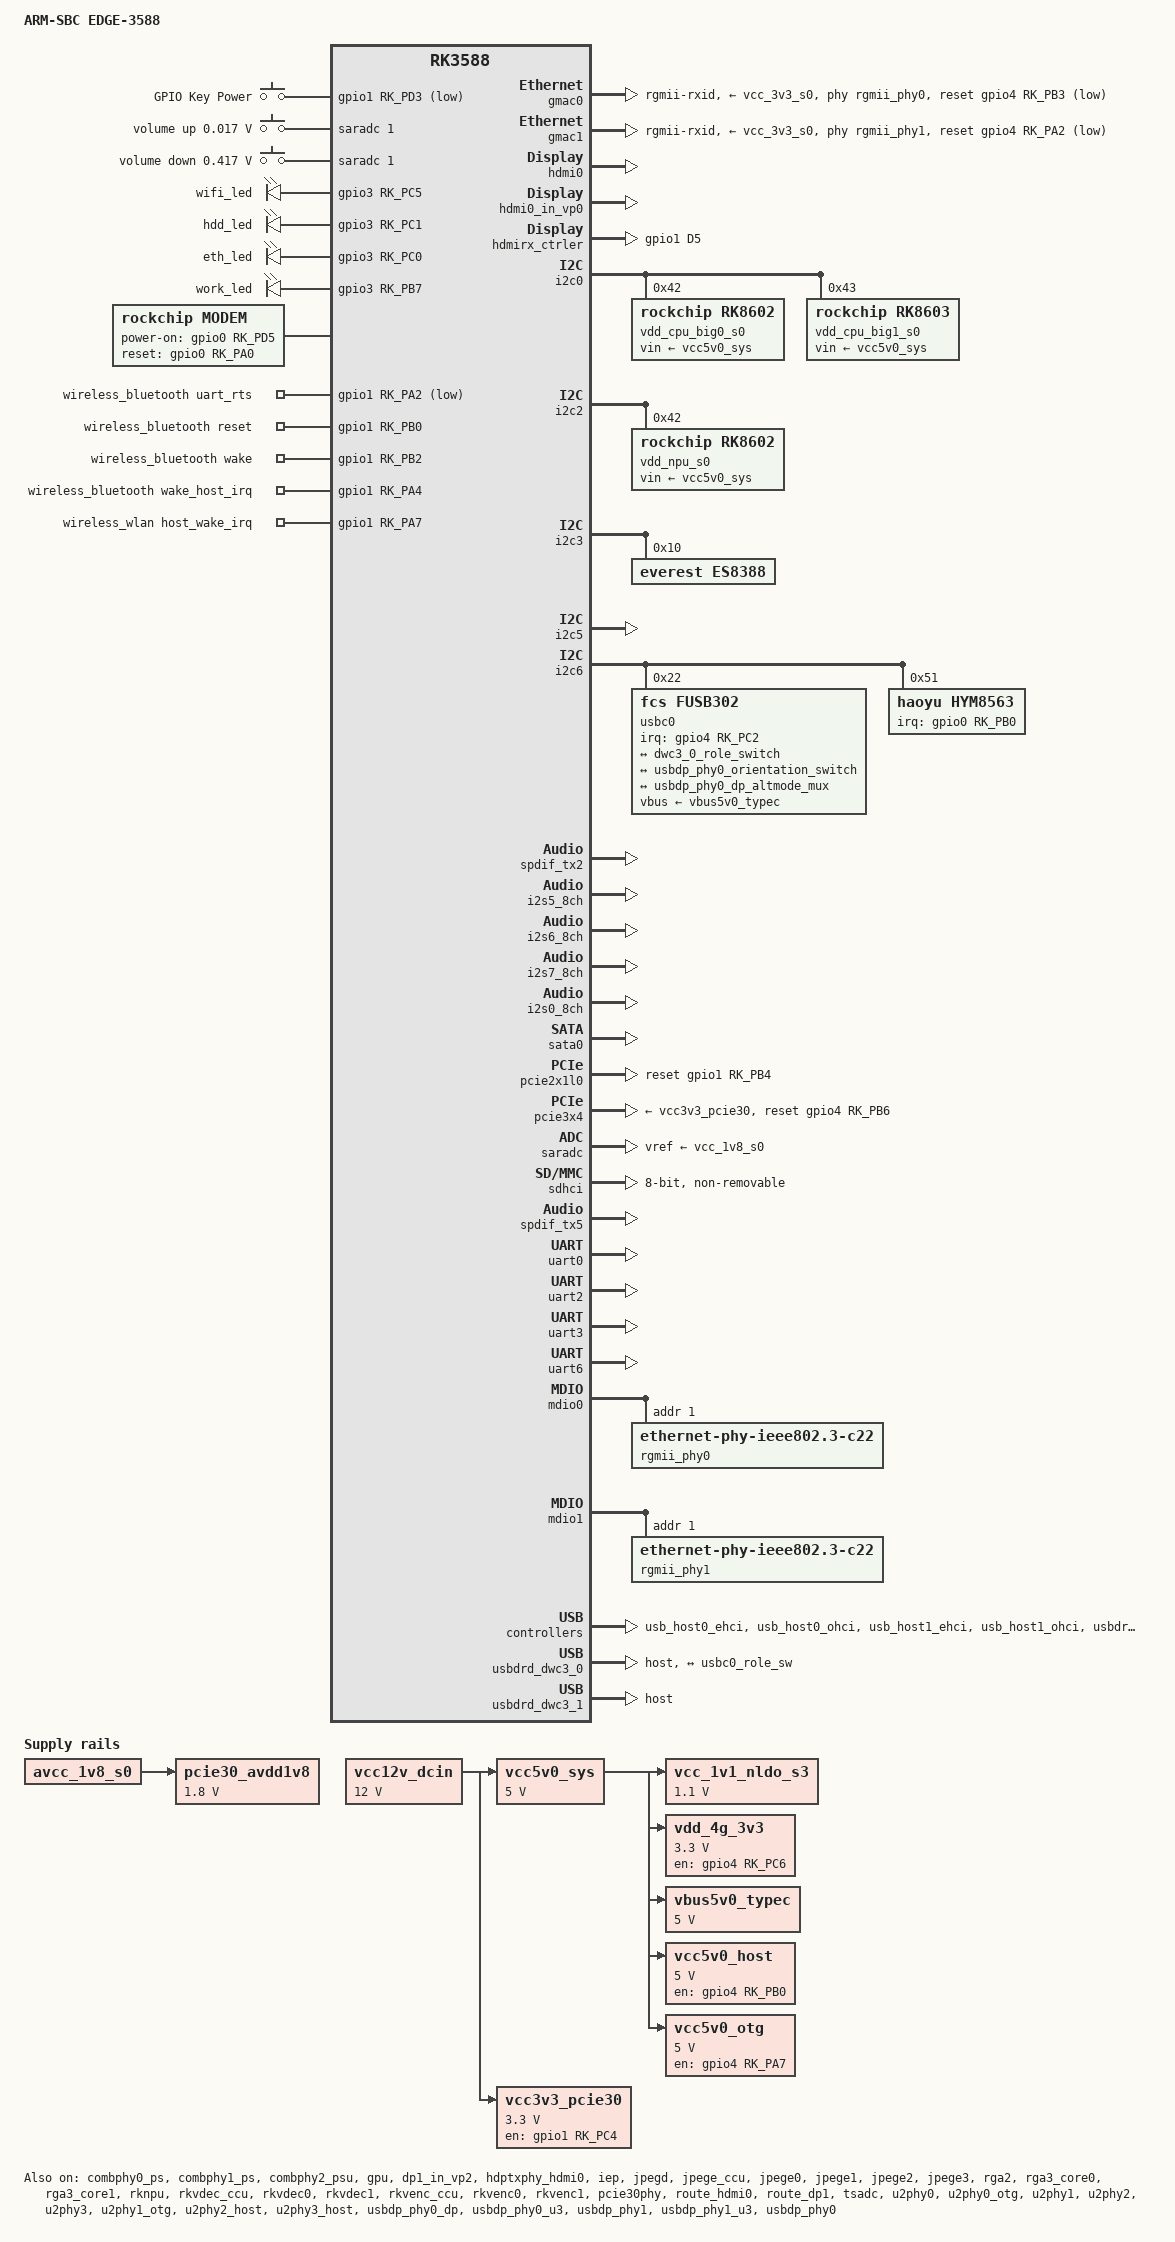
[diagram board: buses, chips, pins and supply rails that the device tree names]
// SPDX-License-Identifier: (GPL-2.0+ OR MIT)
/*
 * Copyright (c) 2021 Rockchip Electronics Co., Ltd.
 *
 */

/dts-v1/;

#include <dt-bindings/gpio/gpio.h>
#include <dt-bindings/pwm/pwm.h>
#include <dt-bindings/pinctrl/rockchip.h>
#include <dt-bindings/input/rk-input.h>
#include <dt-bindings/display/drm_mipi_dsi.h>
#include <dt-bindings/display/rockchip_vop.h>
#include <dt-bindings/sensor-dev.h> 
#include "dt-bindings/usb/pd.h"
#include "rk3588.dtsi"
#include "rk3588-rk806-single.dtsi"
#include "rk3588-linux.dtsi"

/ {
	model = "ARM-SBC EDGE-3588";
	compatible = "rockchip,rk3588-armsbc-edge3588", "rockchip,rk3588";
 
	/delete-node/ chosen;
 
 	reserved-memory {
		#address-cells = <2>;
		#size-cells = <2>;
		ranges;

		/* Reserve 256MB memory for hdmirx-controller@fdee0000 */
		cma {
			compatible = "shared-dma-pool";
			reusable;
			reg = <0x0 (256 * 0x100000) 0x0 (256 * 0x100000)>;
			linux,cma-default;
		};
	};
	
	gpio_keys: gpio-keys {
		compatible = "gpio-keys";
		autorepeat;
		pinctrl-names = "default";
		pinctrl-0 = <&pwrbtn>;

		power {
			debounce-interval = <100>;
			gpios = <&gpio1 RK_PD3 GPIO_ACTIVE_LOW>;
			//gpios = <&gpio0 RK_PD5 GPIO_ACTIVE_LOW>;
			label = "GPIO Key Power";
			linux,code = <KEY_POWER>;
			wakeup-source;
		};
	};
	
	adc_keys: adc-keys {
		compatible = "adc-keys";
		io-channels = <&saradc 1>;
		io-channel-names = "buttons";
		keyup-threshold-microvolt = <1800000>;
		poll-interval = <100>;

		vol-up-key {
			label = "volume up";
			linux,code = <KEY_VOLUMEUP>;
			press-threshold-microvolt = <17000>;
		};

		vol-down-key {
			label = "volume down";
			linux,code = <KEY_VOLUMEDOWN>;
			press-threshold-microvolt = <417000>;
		};

	};	
	
	leds: leds {
		compatible = "gpio-leds";
		wifi_led: wifi-led {
			gpios = <&gpio3 RK_PC5 GPIO_ACTIVE_HIGH>;
			default-state = "off";
		};
		hdd_led: hdd-led {
			gpios = <&gpio3 RK_PC1 GPIO_ACTIVE_HIGH>;
			default-state = "off";
		};
		eth_led: eth-led {
			gpios = <&gpio3 RK_PC0 GPIO_ACTIVE_HIGH>;
			default-state = "off";
		};
		work_led: work-led {
			gpios = <&gpio3 RK_PB7 GPIO_ACTIVE_HIGH>;
			//linux,default-trigger = "heartbeat";
			default-state = "on";
		};
	};

 
	hdmi0_sound: hdmi0-sound {
		status = "okay";
		compatible = "rockchip,hdmi";
		rockchip,mclk-fs = <128>;
		rockchip,card-name = "rockchip-hdmi0";
		rockchip,cpu = <&i2s5_8ch>;
		rockchip,codec = <&hdmi0>;
		rockchip,jack-det;
	};
	
	dp1_sound: dp1-sound {
		status = "okay";
		compatible = "rockchip,hdmi";
		rockchip,card-name = "rockchip-dp1";
		rockchip,mclk-fs = <512>;
		rockchip,cpu = <&spdif_tx5>;
		rockchip,codec = <&dp1 1>;
		rockchip,jack-det;
	};
	
	hdmiin-sound {
		compatible = "rockchip,hdmi";
		rockchip,mclk-fs = <128>;
		rockchip,format = "i2s";
		rockchip,bitclock-master = <&hdmirx_ctrler>;
		rockchip,frame-master = <&hdmirx_ctrler>;
		rockchip,card-name = "rockchip-hdmiin";
		rockchip,cpu = <&i2s7_8ch>;
		rockchip,codec = <&hdmirx_ctrler 0>;
		rockchip,jack-det;
	};	
	
	es8388_sound: es8388-sound {
		status = "okay";
		compatible = "rockchip,multicodecs-card";
		rockchip,card-name = "rockchip-es8388";
		//hp-det-gpio = <&gpio3 RK_PB2 GPIO_ACTIVE_HIGH>;
		rockchip,format = "i2s";
		rockchip,mclk-fs = <256>;
		rockchip,cpu = <&i2s0_8ch>;
		rockchip,codec = <&es8388>;
		rockchip,audio-routing =
			"Headphone", "LOUT1",
			"Headphone", "ROUT1",
			"Speaker", "LOUT2",
			"Speaker", "ROUT2",
			"Headphone", "Headphone Power",
			"Headphone", "Headphone Power",
			"Speaker", "Speaker Power",
			"Speaker", "Speaker Power",
			"LINPUT1", "Main Mic",
			"LINPUT2", "Main Mic",
			"RINPUT1", "Headset Mic",
			"RINPUT2", "Headset Mic";
		pinctrl-names = "default";
		pinctrl-0 = <&hp_det>;
	};

	rk_headset: rk-headset {
		status = "disabled";
		compatible = "rockchip_headset";
		headset_gpio = <&gpio3 RK_PB2 GPIO_ACTIVE_LOW>;
		pinctrl-names = "default";
		pinctrl-0 = <&hp_det>;
		io-channels = <&saradc 3>;
	};
 
	leds: leds {
		compatible = "gpio-leds";
		wifi_led: wifi-led {
			gpios = <&gpio3 RK_PC5 GPIO_ACTIVE_HIGH>;
			default-state = "off";
		};
		hdd_led: hdd-led {
			gpios = <&gpio3 RK_PC1 GPIO_ACTIVE_HIGH>;
			default-state = "off";
		};
		eth_led: eth-led {
			gpios = <&gpio3 RK_PC0 GPIO_ACTIVE_HIGH>;
			default-state = "off";
		};
		work_led: work-led {
			gpios = <&gpio3 RK_PB7 GPIO_ACTIVE_HIGH>;
			//linux,default-trigger = "heartbeat";
			default-state = "on";
		};
	};
	
	test-power {
		status = "okay";
	};
 
	vcc12v_dcin: vcc12v-dcin {
		compatible = "regulator-fixed";
		regulator-name = "vcc12v_dcin";
		regulator-always-on;
		regulator-boot-on;
		regulator-min-microvolt = <12000000>;
		regulator-max-microvolt = <12000000>;
	};
 
	vcc5v0_sys: vcc5v0-sys-regulator {
		compatible = "regulator-fixed";
		regulator-name = "vcc5v0_sys";
		regulator-always-on;
		regulator-boot-on;
		regulator-min-microvolt = <5000000>;
		regulator-max-microvolt = <5000000>;
		vin-supply = <&vcc12v_dcin>;
	};
 
	vcc_1v1_nldo_s3: vcc-1v1-nldo-s3 {
		compatible = "regulator-fixed";
		regulator-name = "vcc_1v1_nldo_s3";
		regulator-always-on;
		regulator-boot-on;
		regulator-min-microvolt = <1100000>;
		regulator-max-microvolt = <1100000>;
		vin-supply = <&vcc5v0_sys>;
	 };
	 
	 modem {
		compatible = "rockchip,modem";
		status = "okay";
		power-on_gpio = <&gpio0 RK_PD5 GPIO_ACTIVE_HIGH>;
		reset_gpio = <&gpio0 RK_PA0 GPIO_ACTIVE_HIGH>; //GPIO_C4
	};
 
	vdd_4g_3v3: vdd-4g-3v3-regulator {
		compatible = "regulator-fixed";
		enable-active-high;
		gpio = <&gpio4 RK_PC6 GPIO_ACTIVE_HIGH>;
		pinctrl-names = "default";
		pinctrl-0 = <&pin_4g_lte_pwren>;
		regulator-name = "vdd_4g_3v3";
		regulator-min-microvolt = <3300000>;
		regulator-max-microvolt = <3300000>;
		vin-supply = <&vcc5v0_sys>;
	};
	
	vbus5v0_typec: vbus5v0-typec-regulator {
		compatible = "regulator-fixed";
		enable-active-high;
		pinctrl-names = "default";
		regulator-name = "vbus5v0_typec";
		regulator-min-microvolt = <5000000>;
		regulator-max-microvolt = <5000000>;
		vin-supply = <&vcc5v0_sys>;
	};
  
	vcc5v0_host: vcc5v0-host-regulator {
		compatible = "regulator-fixed";
		regulator-name = "vcc5v0_host";
		regulator-boot-on;
		regulator-always-on;
		regulator-min-microvolt = <5000000>;
		regulator-max-microvolt = <5000000>;
		enable-active-high;
		gpio = <&gpio4 RK_PB0 GPIO_ACTIVE_HIGH>;
		vin-supply = <&vcc5v0_sys>;
		pinctrl-names = "default";
		pinctrl-0 = <&vcc5v0_host_en>;
	};

	vcc5v0_otg: vcc5v0-otg-regulator {
		compatible = "regulator-fixed";
		regulator-name = "vcc5v0_otg";
		regulator-min-microvolt = <5000000>;
		regulator-max-microvolt = <5000000>;
		enable-active-high;
		gpio = <&gpio4 RK_PA7 GPIO_ACTIVE_HIGH>;
		vin-supply = <&vcc5v0_sys>;
		pinctrl-names = "default";
		pinctrl-0 = <&vcc5v0_otg_en>;
	};
	
	pcie30_avdd1v8: pcie30-avdd1v8 {
		compatible = "regulator-fixed";
		regulator-name = "pcie30_avdd1v8";
		regulator-boot-on;
		regulator-always-on;
		regulator-min-microvolt = <1800000>;
		regulator-max-microvolt = <1800000>;
		vin-supply = <&avcc_1v8_s0>;
	};
	
	vcc3v3_pcie30: vcc3v3-pcie30 {
		compatible = "regulator-fixed";
		regulator-name = "vcc3v3_pcie30";
		regulator-min-microvolt = <3300000>;
		regulator-max-microvolt = <3300000>;
		enable-active-high;
		pinctrl-names = "default";
		pinctrl-0 = <&vcc3v3_pcie30_en>;		
		gpios = <&gpio1 RK_PC4 GPIO_ACTIVE_HIGH>;    
		startup-delay-us = <10000>;
		vin-supply = <&vcc12v_dcin>;
	};
	
	wireless_bluetooth: wireless-bluetooth {
		compatible = "bluetooth-platdata";
		clocks = <&hym8563>;
		clock-names = "ext_clock";
		uart_rts_gpios = <&gpio1 RK_PA2 GPIO_ACTIVE_LOW>;
		pinctrl-names = "default", "rts_gpio";
		pinctrl-0 = <&uart6m1_rtsn>, <&bt_reset_gpio>, <&bt_wake_gpio>, <&bt_irq_gpio>;
		pinctrl-1 = <&uart6_gpios>;
		BT,reset_gpio    = <&gpio1 RK_PB0 GPIO_ACTIVE_HIGH>;
		BT,wake_gpio     = <&gpio1 RK_PB2 GPIO_ACTIVE_HIGH>;
		BT,wake_host_irq = <&gpio1 RK_PA4 GPIO_ACTIVE_HIGH>;
		status = "okay";
	};
 
	wireless_wlan: wireless-wlan {
		compatible = "wlan-platdata";
		wifi_chip_type = "ap6275p";
		pinctrl-names = "default";
		pinctrl-0 = <&wifi_host_wake_irq>, <&wifi_poweren_gpio>;
		WIFI,host_wake_irq = <&gpio1 RK_PA7 GPIO_ACTIVE_HIGH>;
		status = "okay";
	};
 };
 	
 &gmac0 {
	phy-mode = "rgmii-rxid";
	clock_in_out = "output";
	phy-supply = <&vcc_3v3_s0>;
	snps,reset-gpio = <&gpio4 RK_PB3 GPIO_ACTIVE_LOW>;
	snps,reset-active-low;
	snps,reset-delays-us = <0 20000 100000>;
	pinctrl-names = "default";
	pinctrl-0 = <&gmac0_miim
		     &gmac0_clkinout
		     &gmac0_tx_bus2
		     &gmac0_rx_bus2
		     &gmac0_rgmii_clk
		     &gmac0_rgmii_bus>;
	//rx_delay = <0x00>;
	tx_delay = <0x44>;
	phy-handle = <&rgmii_phy0>;
	status = "okay";
};

 &gmac1 {
	phy-mode = "rgmii-rxid";
	clock_in_out = "output";
	phy-supply = <&vcc_3v3_s0>;
	snps,reset-gpio = <&gpio4 RK_PA2 GPIO_ACTIVE_LOW>;
	snps,reset-active-low;
	snps,reset-delays-us = <0 20000 100000>;
	pinctrl-names = "default";
	pinctrl-0 = <&gmac1_miim
		     &gmac1_clkinout
		     &gmac1_tx_bus2
		     &gmac1_rx_bus2
		     &gmac1_rgmii_clk
		     &gmac1_rgmii_bus>;
	//rx_delay = <0x00>;
	tx_delay = <0x42>;
	phy-handle = <&rgmii_phy1>;
	status = "okay";
};

&cpu_l0 {
	cpu-supply = <&vdd_cpu_lit_s0>;
	mem-supply = <&vdd_cpu_lit_mem_s0>;
};
 
&cpu_b0 {
	cpu-supply = <&vdd_cpu_big0_s0>;
	mem-supply = <&vdd_cpu_big0_mem_s0>;
};
 
&cpu_b2 {
	cpu-supply = <&vdd_cpu_big1_s0>;
	mem-supply = <&vdd_cpu_big1_mem_s0>;
};
 
&combphy0_ps {
	status = "okay";
};
 
&combphy1_ps {
	status = "okay";
};
 
&combphy2_psu {
    status = "okay";
};

&display_subsystem {
    clocks = <&hdptxphy_hdmi0>;
    clock-names = "hdmi0_phy_pll";
};

&gpu {
    mali-supply = <&vdd_gpu_s0>;
    mem-supply = <&vdd_gpu_mem_s0>;
    status = "okay";
};

&hdmi0 {
    status = "okay";
    enable-gpios = <&gpio4 RK_PB1 GPIO_ACTIVE_HIGH>;
    cec-enable = "true";
};

&hdmi0_in_vp0 {
	status = "okay";
};

&dp1 {
	pinctrl-0 = <&dp1m0_pins>;
	pinctrl-names = "default";
	status = "disabled";
};

&dp1_in_vp2 {
	status = "okay";
};

&hdmirx_ctrler {
    status = "okay";
    #sound-dai-cells = <1>;
    hpd-trigger-level = <1>;
    hdmirx-det-gpios = <&gpio1 RK_PD5 GPIO_ACTIVE_LOW>;
    pinctrl-names = "default";
    pinctrl-0 = <&hdmim1_rx &hdmirx_det>;
};

&hdptxphy_hdmi0 {
	status = "okay";
};

&i2c0 {
    status = "okay";
    pinctrl-names = "default";
    pinctrl-0 = <&i2c0m2_xfer>;

    vdd_cpu_big0_s0: vdd_cpu_big0_mem_s0: rk8602@42 {
        compatible = "rockchip,rk8602";
        reg = <0x42>;
        vin-supply = <&vcc5v0_sys>;
        regulator-compatible = "rk860x-reg";
        regulator-name = "vdd_cpu_big0_s0";
        regulator-min-microvolt = <550000>;
        regulator-max-microvolt = <1050000>;
        regulator-ramp-delay = <2300>;
        rockchip,suspend-voltage-selector = <1>;
        regulator-boot-on;
        regulator-always-on;
        regulator-state-mem {
            regulator-off-in-suspend;
        };
    };

    vdd_cpu_big1_s0: vdd_cpu_big1_mem_s0: rk8603@43 {
        compatible = "rockchip,rk8603";
        reg = <0x43>;
    	vin-supply = <&vcc5v0_sys>;
        regulator-compatible = "rk860x-reg";
        regulator-name = "vdd_cpu_big1_s0";
        regulator-min-microvolt = <550000>;
        regulator-max-microvolt = <1050000>;
        regulator-ramp-delay = <2300>;
        rockchip,suspend-voltage-selector = <1>;
        regulator-boot-on;
        regulator-always-on;
        regulator-state-mem {
            regulator-off-in-suspend;
        };
    };
};

&i2c2 {
	status = "okay";

	vdd_npu_s0: vdd_npu_mem_s0: rk8602@42 {
		compatible = "rockchip,rk8602";
		reg = <0x42>;
		vin-supply = <&vcc5v0_sys>;
		regulator-compatible = "rk860x-reg";
		regulator-name = "vdd_npu_s0";
		regulator-min-microvolt = <550000>;
		regulator-max-microvolt = <950000>;
		regulator-ramp-delay = <2300>;
		rockchip,suspend-voltage-selector = <1>;
		regulator-boot-on;
		regulator-always-on;
		regulator-state-mem {
			regulator-off-in-suspend;
		};
	};
};

&i2c3 {
    status = "okay";
    
    es8388: es8388@10 {
        status = "okay";
        #sound-dai-cells = <0>;
        compatible = "everest,es8388", "everest,es8323";
        reg = <0x10>;
        clocks = <&mclkout_i2s0>;
        clock-names = "mclk";
        assigned-clocks = <&mclkout_i2s0>;
        assigned-clock-rates = <12288000>;
        pinctrl-names = "default";
        pinctrl-0 = <&i2s0_mclk>;
    };
};

&i2c5 {
	status = "okay";
	pinctrl-0 = <&i2c5m3_xfer>;
	pinctrl-names = "default";
};

&i2c6 {
    status = "okay";
    pinctrl-names = "default";

    usbc0: fusb302@22 {
        compatible = "fcs,fusb302";
        reg = <0x22>;
        interrupt-parent = <&gpio4>;
        interrupts = <RK_PC2 IRQ_TYPE_LEVEL_LOW>;
        pinctrl-names = "default";
        pinctrl-0 = <&usbc0_int>;
        vbus-supply = <&vbus5v0_typec>;
        status = "okay";

        ports {
            #address-cells = <1>;
            #size-cells = <0>;

            port@0 {
                reg = <0>;
                usbc0_role_sw: endpoint@0 {
                    remote-endpoint = <&dwc3_0_role_switch>;
                };
            };
        };

        usb_con: connector {
            compatible = "usb-c-connector";
            label = "USB-C";
            data-role = "dual";
            power-role = "dual";
            try-power-role = "sink";
            op-sink-microwatt = <1000000>;
            sink-pdos =
                <PDO_FIXED(5000, 1000, PDO_FIXED_USB_COMM)>;
            source-pdos =
                <PDO_FIXED(5000, 3000, PDO_FIXED_USB_COMM)>;

            altmodes {
                #address-cells = <1>;
                #size-cells = <0>;

                altmode@0 {
                    reg = <0>;
                    svid = <0xff01>;
                    vdo = <0xffffffff>;
                };
            };

            ports {
                #address-cells = <1>;
                #size-cells = <0>;

                port@0 {
                    reg = <0>;
                    usbc0_orien_sw: endpoint {
                        remote-endpoint = <&usbdp_phy0_orientation_switch>;
                    };
                };

                port@1 {
                    reg = <1>;
                    dp_altmode_mux: endpoint {
                        remote-endpoint = <&usbdp_phy0_dp_altmode_mux>;
                    };
                };
            };
        };
    };

    hym8563: hym8563@51 {
	compatible = "haoyu,hym8563";
	reg = <0x51>;
	#clock-cells = <0>;
	clock-output-names = "hym8563";
	pinctrl-names = "default";
	pinctrl-0 = <&hym8563_int>;
	interrupt-parent = <&gpio0>;
	interrupts = <RK_PB0 IRQ_TYPE_LEVEL_LOW>;
	wakeup-source;
    };

};

&spdif_tx2 {
	status = "okay";
};
&i2s5_8ch {
	status = "okay";
};

&i2s6_8ch {
	status = "okay";
};

&i2s7_8ch {
	status = "okay";
};

&i2s0_8ch {
    status = "okay";
    pinctrl-0 = <&i2s0_lrck
             &i2s0_sclk
             &i2s0_sdi0
             &i2s0_sdo0>;
};

&pinctrl {
    
    hdmi {
    
    	hdmirx_det: hdmirx-det {
            	rockchip,pins = <1 RK_PD5 RK_FUNC_GPIO &pcfg_pull_up>;
        	};
    	};
    	
    	buttons {
		pwrbtn: pwrbtn {
			rockchip,pins = <1 RK_PD3 RK_FUNC_GPIO &pcfg_pull_up>;
			//rockchip,pins = <0 RK_PD5 RK_FUNC_GPIO &pcfg_pull_up>;
		};
	};

	headphone {
		hp_det: hp-det {
			rockchip,pins = <3 RK_PB2 RK_FUNC_GPIO &pcfg_pull_none>;
		};
	};

	hym8563 {
		hym8563_int: hym8563-int {
			rockchip,pins = <0 RK_PB2 RK_FUNC_GPIO &pcfg_pull_up>;
		};
	};
	
	gpio-leds {
		sys_led_pin: sys-led-pin {
			rockchip,pins = <3 RK_PB7 RK_FUNC_GPIO &pcfg_pull_none>;
		};

		eth_led_pin: eth-led-pin {
			rockchip,pins = <3 RK_PC0 RK_FUNC_GPIO &pcfg_pull_none>;
		};
		
		hdd_led_pin: hdd-led-pin {
			rockchip,pins = <3 RK_PC1 RK_FUNC_GPIO &pcfg_pull_none>;
		};
		
		wifi_led_pin: wifi-led-pin {
			rockchip,pins = <3 RK_PC5 RK_FUNC_GPIO &pcfg_pull_none>;
		};
	};
    
   	usb {
		pin_4g_lte_pwren: 4g-lte-pwren {
			rockchip,pins = <4 RK_PC6 RK_FUNC_GPIO &pcfg_pull_up>;
		};

		usbc0_int: usbc0-int {
			rockchip,pins = <3 RK_PC7 RK_FUNC_GPIO &pcfg_pull_up>;
		};
		
		vcc5v0_host_en: vcc5v0-host-en {
			rockchip,pins = <4 RK_PB0 RK_FUNC_GPIO &pcfg_pull_up>;
		};
		
		vcc5v0_otg_en: vcc5v0-otg-en {
			rockchip,pins = <4 RK_PA7 RK_FUNC_GPIO &pcfg_pull_up>;
		};
	};
	
	pcie {
		vcc3v3_pcie30_en: vcc3v3-pcie30-en {
			rockchip,pins = <1 RK_PC4 RK_FUNC_GPIO &pcfg_pull_up>;
		};	
	
	};
		
    	wireless-bluetooth {
    
        	uart6_gpios: uart6-gpios {
          		rockchip,pins = <1 RK_PA2 RK_FUNC_GPIO &pcfg_pull_none>;
        	};

		bt_reset_gpio: bt-reset-gpio {
			rockchip,pins = <1 RK_PB0 RK_FUNC_GPIO &pcfg_pull_none>;
		};

		bt_wake_gpio: bt-wake-gpio {
			rockchip,pins = <1 RK_PB2 RK_FUNC_GPIO &pcfg_pull_none>;
		};

		bt_irq_gpio: bt-irq-gpio {
			rockchip,pins = <1 RK_PA4 RK_FUNC_GPIO &pcfg_pull_none>;
		};
    	};

     	wireless-wlan {
		
		wifi_host_wake_irq: wifi-host-wake-irq {
			rockchip,pins = <1 RK_PA7 RK_FUNC_GPIO &pcfg_pull_up>;
		};
		
		wifi_poweren_gpio: wifi-poweren-gpio {
			rockchip,pins = <1 RK_PB1 RK_FUNC_GPIO &pcfg_pull_up>;
			};
		};
	};

&iep {
	status = "okay";
};

&iep_mmu {
	status = "okay";
};

&jpegd {
	status = "okay";
};

&jpegd_mmu {
	status = "okay";
};

&jpege_ccu {
	status = "okay";
};

&jpege0 {
	status = "okay";
};

&jpege0_mmu {
	status = "okay";
};

&jpege1 {
	status = "okay";
};

&jpege1_mmu {
	status = "okay";
};

&jpege2 {
	status = "okay";
};

&jpege2_mmu {
	status = "okay";
};

&jpege3 {
	status = "okay";
};

&jpege3_mmu {
	status = "okay";
};

&rga2 {
	status = "okay";
};

&rga3_core0 {
	status = "okay";
};

&rga3_0_mmu {
	status = "okay";
};

&rga3_core1 {
	status = "okay";
};

&rga3_1_mmu {
	status = "okay";
};

&rknpu {
	rknpu-supply = <&vdd_npu_s0>;
	mem-supply = <&vdd_npu_mem_s0>;
	status = "okay";
};

&rknpu_mmu {
	status = "okay";
};

&rkvdec_ccu {
	status = "okay";
};

&rkvdec0 {
	status = "okay";
};

&rkvdec0_mmu {
	status = "okay";
};

&rkvdec1 {
	status = "okay";
};

&rkvdec1_mmu {
	status = "okay";
};

&rkvenc_ccu {
	status = "okay";
};

&rkvenc0 {
	venc-supply = <&vdd_vdenc_s0>;
	mem-supply = <&vdd_vdenc_mem_s0>;
	status = "okay";
};

&rkvenc0_mmu {
	status = "okay";
};

&rkvenc1 {
	venc-supply = <&vdd_vdenc_s0>;
	mem-supply = <&vdd_vdenc_mem_s0>;
	status = "okay";
};

&rkvenc1_mmu {
	status = "okay";
};

&sata0 {
    status = "okay";
};

&pcie2x1l0 {
        reset-gpios = <&gpio1 RK_PB4 GPIO_ACTIVE_HIGH>;
        pinctrl-names = "default";
        status = "okay";
};

&pcie30phy {
	rockchip,pcie30-phymode = <PHY_MODE_PCIE_AGGREGATION>;
	status = "okay";
};

&pcie3x4 {
	reset-gpios = <&gpio4 RK_PB6 GPIO_ACTIVE_HIGH>;
	vpcie3v3-supply = <&vcc3v3_pcie30>;
	status = "okay";
};

&rockchip_suspend {
	status = "okay";
	rockchip,sleep-debug-en = <1>;
	rockchip,virtual-poweroff = <1>;
	rockchip,sleep-mode-config = <
		(0
		| RKPM_SLP_ARMOFF_DDRPD
		)
	>;
	rockchip,wakeup-config = <
		(0
		| RKPM_CPU0_WKUP_EN
		| RKPM_GPIO_WKUP_EN
		)
	>;
};

&route_hdmi0 {
	status = "okay";
	connect = <&vp0_out_hdmi0>;
};

&route_dp1 {
	status = "okay";
	connect = <&vp2_out_dp1>;
};

&saradc {
    status = "okay";
    vref-supply = <&vcc_1v8_s0>;
};

&sdhci {
	bus-width = <8>;
	mmc-hs200-1_8v;
	no-sdio;
	no-sd;
	non-removable;
	pinctrl-names = "default";
	vqmmc-supply = <&vcc_1v8_s3>;
	status = "okay";
};

&spdif_tx2 {
    status = "okay";
};

&spdif_tx5 {
	status = "okay";
};

//rs485
&uart0 {
	status = "okay";
	pinctrl-names = "default";
	pinctrl-0 = <&uart0m2_xfer>;
};
//debug
&uart2 {
	status = "okay";
	pinctrl-names = "default";
  	pinctrl-0 = <&uart2m0_xfer>;
};

//rs232
&uart3 {
	status = "okay";
	pinctrl-names = "default";
	pinctrl-0 = <&uart3m2_xfer>;
};

&uart6 {
        status = "okay";
        pinctrl-names = "default";
        pinctrl-0 = <&uart6m1_xfer>;
};

&mdio0 {
	rgmii_phy0: phy@1 {
		compatible = "ethernet-phy-ieee802.3-c22";
		reg = <0x1>;
	};
};

&mdio1 {
	rgmii_phy1: phy@1 {
		compatible = "ethernet-phy-ieee802.3-c22";
		reg = <0x1>;
	};
};

&tsadc {
	status = "okay";
};

&u2phy0 {
	status = "okay";
};

&u2phy0_otg {
	rockchip,typec-vbus-det;
	status = "okay";
};

//type-c0
&u2phy0 {
	status = "okay";
};

&u2phy1 {
	status = "okay";
};

&u2phy2 {
	status = "okay";
};

&u2phy3 {
	status = "okay";
};

&u2phy0_otg {
	status = "okay";
};

&u2phy1_otg {
	status = "okay";
};

&u2phy2_host {
	status = "okay";
	phy-supply = <&vcc5v0_host>;
};

&u2phy3_host {
	status = "okay";
	phy-supply = <&vcc5v0_host>;
};

&usb_host0_ehci {
	status = "okay";
};

&usb_host0_ohci {
	status = "okay";
};

&usb_host1_ehci {
	status = "okay";
};

&usb_host1_ohci {
	status = "okay";
};

&usbdp_phy0_dp {
	status = "okay";
};

&usbdp_phy0_u3 {
	status = "okay";
};

&usbdp_phy1 {
	status = "okay";
};

&usbdp_phy1_u3 {
	status = "okay";
};

&usb_host1_ohci {
    status = "okay";
};

&usbdp_phy0 {
	status = "okay";
	orientation-switch;
	svid = <0xff01>;
	sbu1-dc-gpios = <&gpio0 RK_PC6 GPIO_ACTIVE_HIGH>;
	sbu2-dc-gpios = <&gpio0 RK_PD3 GPIO_ACTIVE_HIGH>;

	port {
		#address-cells = <1>;
		#size-cells = <0>;
		usbdp_phy0_orientation_switch: endpoint@0 {
			reg = <0>;
			remote-endpoint = <&usbc0_orien_sw>;
		};

		usbdp_phy0_dp_altmode_mux: endpoint@1 {
			reg = <1>;
			remote-endpoint = <&dp_altmode_mux>;
		};
	};
};

&usbdrd_dwc3_0 {
	status = "okay";
	dr_mode = "otg";	
	usb-role-switch;
	port {
		#address-cells = <1>;
		#size-cells = <0>;
		dwc3_0_role_switch: endpoint@0 {
			reg = <0>;
			remote-endpoint = <&usbc0_role_sw>;
		};
	};
};

&usbdp_phy0 {
	status = "okay";
};

&usbdrd_dwc3_0 {
	status = "okay";
	dr_mode = "host";	
};

&usbdrd3_0 {
    status = "okay";
};

&usbdrd3_1 {
    status = "okay";
};

&usbdrd_dwc3_1 {
    dr_mode = "host";
    status = "okay";
};

&vdpu {
    status = "okay";
};

&vdpu_mmu {
    status = "okay";
};

&vepu {
    status = "okay";
};

&vop {
	assigned-clocks = <&cru ACLK_VOP>;
	assigned-clock-rates = <800000000>;
	status = "okay";
};

&vop_mmu {
    status = "okay";
};

&av1d {
	status = "okay";
};

&av1d_mmu {
	status = "okay";
};

&avsd {
	status = "okay";
};

/* vp0 & vp1 splice for 8K output */
&vp0 {
	rockchip,plane-mask = <(1 << ROCKCHIP_VOP2_CLUSTER0 | 1 << ROCKCHIP_VOP2_ESMART0)>;
	rockchip,primary-plane = <ROCKCHIP_VOP2_ESMART0>;
};

&vp1 {
	rockchip,plane-mask = <(1 << ROCKCHIP_VOP2_CLUSTER1 | 1 << ROCKCHIP_VOP2_ESMART1)>;
	rockchip,primary-plane = <ROCKCHIP_VOP2_ESMART1>;
};

&vp2 {
	rockchip,plane-mask = <(1 << ROCKCHIP_VOP2_CLUSTER2 | 1 << ROCKCHIP_VOP2_ESMART2)>;
	rockchip,primary-plane = <ROCKCHIP_VOP2_ESMART2>;
};

&vp3 {
	rockchip,plane-mask = <(1 << ROCKCHIP_VOP2_CLUSTER3 | 1 << ROCKCHIP_VOP2_ESMART3)>;
	rockchip,primary-plane = <ROCKCHIP_VOP2_ESMART3>;
};

&wdt {
    status = "okay";
};

&tsadc {
    status = "okay";
};
